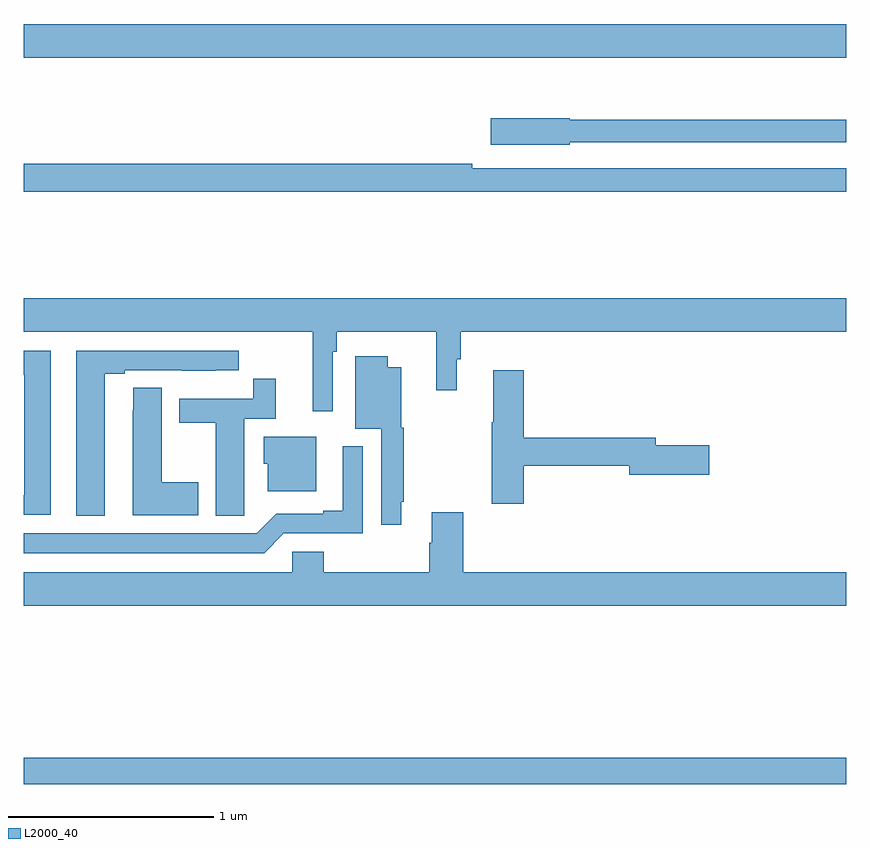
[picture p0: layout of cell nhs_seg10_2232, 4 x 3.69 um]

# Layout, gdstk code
import gdstk
lib = gdstk.Library(unit=1e-6, precision=1e-09)
def R(c, l, rs):  # rectangles x0, y0, x1, y1
    for r in rs: c.add(gdstk.rectangle(r[:2], r[2:], *l))
def P(c, l, *ps):  # polygons
    for p in ps: c.add(gdstk.Polygon(p, *l))
L2000_40 = (2000, 40)

nhs_seg10_2232 = lib.new_cell('nhs_seg10_2232')
R(nhs_seg10_2232, L2000_40, [(229,1312.77,233,1312.898), (229,1316.3,233,1316.464)])
P(nhs_seg10_2232, L2000_40, [(231.654,1315.89),(233,1315.89),(233,1315.999),(231.654,1315.999),(231.654,1316.007),(231.27,1316.007),(231.27,1315.877),(231.654,1315.877)],
  [(233,1315.764),(231.182,1315.764),(231.182,1315.784),(229,1315.784),(229,1315.648),(233,1315.648)],
  [(230.502,1314.872),(230.522,1314.872),(230.522,1314.968),(231.007,1314.968),(231.007,1314.684),(231.106,1314.684),(231.106,1314.834),(231.125,1314.834),(231.125,1314.968),(233,1314.968),(233,1315.132),(229,1315.132),(229,1314.968),(230.405,1314.968),(230.405,1314.582),(230.502,1314.582)],
  [(229.396,1314.765),(229.492,1314.765),(229.492,1314.78),(229.768,1314.78),(229.768,1314.779),(229.934,1314.779),(229.934,1314.78),(230.047,1314.78),(230.047,1314.876),(229.256,1314.876),(229.256,1314.073),(229.396,1314.073)],
  [(229.132,1314.876),(229,1314.876),(229,1314.76),(229.004,1314.76),(229.004,1314.174),(229,1314.174),(229,1314.078),(229.132,1314.078)],
  [(230.836,1314.142),(230.848,1314.142),(230.848,1314.501),(230.836,1314.501),(230.836,1314.796),(230.77,1314.796),(230.77,1314.85),(230.612,1314.85),(230.612,1314.497),(230.739,1314.497),(230.739,1314.03),(230.836,1314.03)],
  [(231.431,1314.316),(231.944,1314.316),(231.944,1314.274),(232.333,1314.274),(232.333,1314.416),(232.072,1314.416),(232.072,1314.452),(231.431,1314.452),(231.431,1314.781),(231.284,1314.781),(231.284,1314.529),(231.277,1314.529),(231.277,1314.132),(231.431,1314.132)],
  [(230.073,1314.184),(230.074,1314.184),(230.074,1314.546),(230.225,1314.546),(230.225,1314.739),(230.116,1314.739),(230.116,1314.642),(229.757,1314.642),(229.757,1314.526),(229.934,1314.526),(229.934,1314.073),(230.073,1314.073)],
  [(229.849,1314.237),(229.672,1314.237),(229.672,1314.695),(229.533,1314.695),(229.533,1314.587),(229.532,1314.587),(229.532,1314.077),(229.849,1314.077)],
  [(230.422,1314.457),(230.168,1314.457),(230.168,1314.327),(230.186,1314.327),(230.186,1314.194),(230.422,1314.194)],
  [(230.265,1313.988),(230.649,1313.988),(230.649,1314.412),(230.552,1314.412),(230.552,1314.097),(230.456,1314.097),(230.456,1314.084),(230.229,1314.084),(230.133,1313.988),(229,1313.988),(229,1313.892),(230.169,1313.892)],
  [(233,1313.8),(231.137,1313.8),(231.137,1314.091),(230.984,1314.091),(230.984,1313.942),(230.972,1313.942),(230.972,1313.8),(230.459,1313.8),(230.459,1313.898),(230.307,1313.898),(230.307,1313.8),(229,1313.8),(229,1313.636),(233,1313.636)])

lib.write_gds('nhs_seg10_2232.gds')
